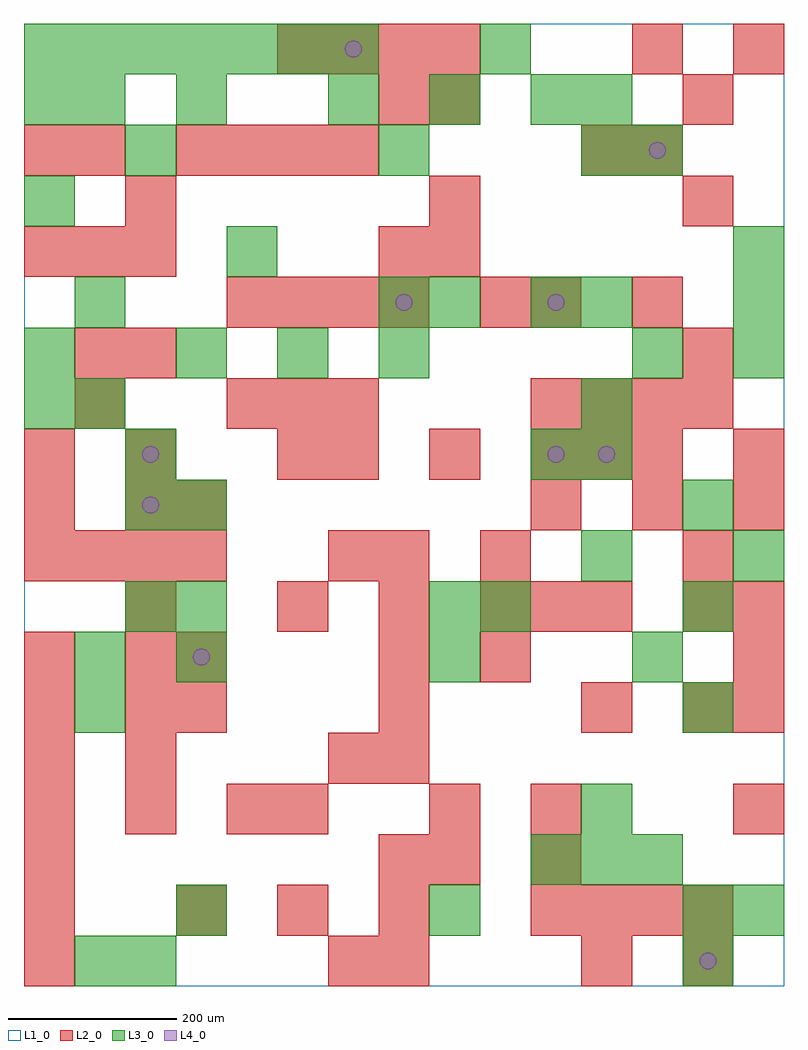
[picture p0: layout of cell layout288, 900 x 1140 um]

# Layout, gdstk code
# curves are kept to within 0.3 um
import gdstk
lib = gdstk.Library(unit=1e-6, precision=1e-09)
def R(c, l, rs):  # rectangles x0, y0, x1, y1
    for r in rs: c.add(gdstk.rectangle(r[:2], r[2:], *l))
def A(c, l, x, y, w, h, nx, ny, dx, dy):  # array of equal rectangles
    R(c, l, [(x+i*dx, y+j*dy, x+i*dx+w, y+j*dy+h) for i in range(nx) for j in range(ny)])
def P(c, l, *ps):  # polygons
    for p in ps: c.add(gdstk.Polygon(p, *l))
L1_0 = (1, 0)
L2_0 = (2, 0)
L3_0 = (3, 0)
L4_0 = (4, 0)

layout288 = lib.new_cell('layout288')
R(layout288, L1_0, [(0,0,900,1140)])
A(layout288, L2_0, 0, 0, 60, 60, 1, 3, 0, 60)
A(layout288, L2_0, 360, 0, 60, 60, 1, 3, 0, 240)
A(layout288, L2_0, 420, 0, 60, 60, 1, 5, 0, 120)
A(layout288, L2_0, 180, 60, 60, 60, 3, 1, 120, 0)
A(layout288, L2_0, 600, 60, 60, 60, 4, 2, 60, 600)
A(layout288, L2_0, 0, 180, 60, 60, 3, 1, 120, 0)
A(layout288, L2_0, 0, 240, 60, 60, 1, 3, 0, 60)
A(layout288, L2_0, 120, 240, 60, 60, 1, 4, 0, 60)
A(layout288, L2_0, 180, 300, 60, 60, 3, 1, 240, 0)
A(layout288, L2_0, 840, 300, 60, 60, 1, 3, 0, 60)
A(layout288, L2_0, 300, 420, 60, 60, 3, 1, 120, 0)
A(layout288, L2_0, 0, 480, 60, 60, 4, 1, 60, 0)
A(layout288, L2_0, 600, 540, 60, 60, 3, 1, 120, 0)
A(layout288, L2_0, 360, 600, 60, 60, 3, 1, 120, 0)
A(layout288, L2_0, 720, 600, 60, 60, 1, 3, 0, 180)
A(layout288, L2_0, 240, 660, 60, 60, 3, 1, 60, 0)
A(layout288, L2_0, 240, 780, 60, 60, 4, 1, 60, 0)
A(layout288, L2_0, 0, 840, 60, 60, 3, 1, 60, 0)
A(layout288, L2_0, 180, 960, 60, 60, 4, 1, 60, 0)
A(layout288, L2_0, 300, 1080, 60, 60, 4, 1, 60, 0)
R(layout288, L2_0, [(660,0,720,60), (780,0,840,60), (480,120,540,180), (600,120,660,180), (300,180,360,240), (480,180,540,240), (600,180,660,240), (840,180,900,240), (780,300,840,360), (180,360,240,420), (540,360,600,420), (600,420,660,480), (660,420,720,480), (780,420,840,480), (540,480,600,540), (780,480,840,540), (0,540,60,600), (120,540,180,600), (180,540,240,600), (0,600,60,660), (120,600,180,660), (300,600,360,660), (660,600,720,660), (840,600,900,660), (60,660,120,720), (60,720,120,780), (120,720,180,780), (780,720,840,780), (540,780,600,840), (600,780,660,840), (420,840,480,900), (480,840,540,900), (120,900,180,960), (480,900,540,960), (780,900,840,960), (0,960,60,1020), (60,960,120,1020), (660,960,720,1020), (420,1020,480,1080), (480,1020,540,1080), (780,1020,840,1080), (720,1080,780,1140), (840,1080,900,1140)])
A(layout288, L3_0, 180, 60, 60, 60, 3, 1, 300, 0)
A(layout288, L3_0, 600, 120, 60, 60, 3, 1, 60, 0)
A(layout288, L3_0, 780, 300, 60, 60, 1, 3, 0, 120)
A(layout288, L3_0, 180, 720, 60, 60, 3, 1, 120, 0)
A(layout288, L3_0, 840, 720, 60, 60, 1, 3, 0, 60)
A(layout288, L3_0, 360, 1020, 60, 60, 3, 1, 120, 0)
A(layout288, L3_0, 0, 1080, 60, 60, 7, 1, 60, 0)
R(layout288, L3_0, [(60,0,120,60), (120,0,180,60), (780,0,840,60), (840,60,900,120), (660,180,720,240), (60,300,120,360), (60,360,120,420), (180,360,240,420), (480,360,540,420), (720,360,780,420), (120,420,180,480), (180,420,240,480), (480,420,540,480), (540,420,600,480), (660,480,720,540), (840,480,900,540), (120,540,180,600), (180,540,240,600), (120,600,180,660), (600,600,660,660), (660,600,720,660), (0,660,60,720), (60,660,120,720), (660,660,720,720), (0,720,60,780), (720,720,780,780), (60,780,120,840), (420,780,480,840), (480,780,540,840), (600,780,660,840), (660,780,720,840), (240,840,300,900), (0,900,60,960), (120,960,180,1020), (420,960,480,1020), (660,960,720,1020), (720,960,780,1020), (0,1020,60,1080), (60,1020,120,1080), (180,1020,240,1080), (660,1020,720,1080), (540,1080,600,1140)])
P(layout288, L4_0, [(160,570),(159.239,573.827),(157.071,577.071),(153.827,579.239),(150,580),(146.173,579.239),(142.929,577.071),(140.761,573.827),(140,570),(140.761,566.173),(142.929,562.929),(146.173,560.761),(150,560),(153.827,560.761),(157.071,562.929),(159.239,566.173)],
  [(160,630),(159.239,633.827),(157.071,637.071),(153.827,639.239),(150,640),(146.173,639.239),(142.929,637.071),(140.761,633.827),(140,630),(140.761,626.173),(142.929,622.929),(146.173,620.761),(150,620),(153.827,620.761),(157.071,622.929),(159.239,626.173)],
  [(220,390),(219.239,393.827),(217.071,397.071),(213.827,399.239),(210,400),(206.173,399.239),(202.929,397.071),(200.761,393.827),(200,390),(200.761,386.173),(202.929,382.929),(206.173,380.761),(210,380),(213.827,380.761),(217.071,382.929),(219.239,386.173)],
  [(400,1110),(399.239,1113.827),(397.071,1117.071),(393.827,1119.239),(390,1120),(386.173,1119.239),(382.929,1117.071),(380.761,1113.827),(380,1110),(380.761,1106.173),(382.929,1102.929),(386.173,1100.761),(390,1100),(393.827,1100.761),(397.071,1102.929),(399.239,1106.173)],
  [(460,810),(459.239,813.827),(457.071,817.071),(453.827,819.239),(450,820),(446.173,819.239),(442.929,817.071),(440.761,813.827),(440,810),(440.761,806.173),(442.929,802.929),(446.173,800.761),(450,800),(453.827,800.761),(457.071,802.929),(459.239,806.173)],
  [(640,630),(639.239,633.827),(637.071,637.071),(633.827,639.239),(630,640),(626.173,639.239),(622.929,637.071),(620.761,633.827),(620,630),(620.761,626.173),(622.929,622.929),(626.173,620.761),(630,620),(633.827,620.761),(637.071,622.929),(639.239,626.173)],
  [(640,810),(639.239,813.827),(637.071,817.071),(633.827,819.239),(630,820),(626.173,819.239),(622.929,817.071),(620.761,813.827),(620,810),(620.761,806.173),(622.929,802.929),(626.173,800.761),(630,800),(633.827,800.761),(637.071,802.929),(639.239,806.173)],
  [(700,630),(699.239,633.827),(697.071,637.071),(693.827,639.239),(690,640),(686.173,639.239),(682.929,637.071),(680.761,633.827),(680,630),(680.761,626.173),(682.929,622.929),(686.173,620.761),(690,620),(693.827,620.761),(697.071,622.929),(699.239,626.173)],
  [(760,990),(759.239,993.827),(757.071,997.071),(753.827,999.239),(750,1000),(746.173,999.239),(742.929,997.071),(740.761,993.827),(740,990),(740.761,986.173),(742.929,982.929),(746.173,980.761),(750,980),(753.827,980.761),(757.071,982.929),(759.239,986.173)],
  [(820,30),(819.239,33.827),(817.071,37.071),(813.827,39.239),(810,40),(806.173,39.239),(802.929,37.071),(800.761,33.827),(800,30),(800.761,26.173),(802.929,22.929),(806.173,20.761),(810,20),(813.827,20.761),(817.071,22.929),(819.239,26.173)])

lib.write_gds('layout288.gds')
